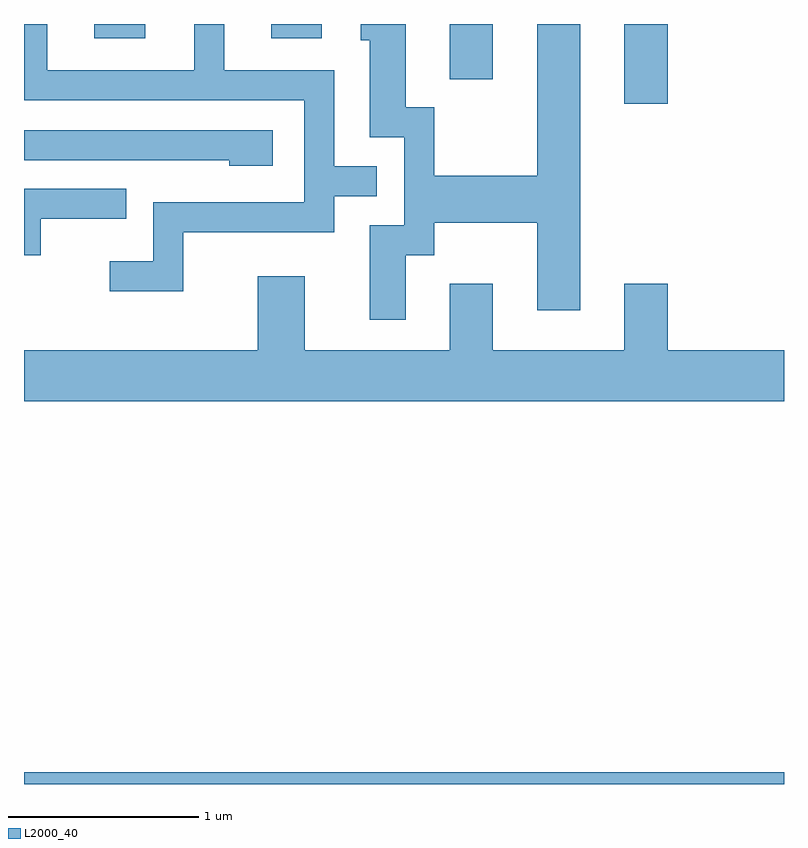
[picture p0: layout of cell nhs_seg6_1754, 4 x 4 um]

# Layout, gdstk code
import gdstk
lib = gdstk.Library(unit=1e-6, precision=1e-09)
def R(c, l, rs):  # rectangles x0, y0, x1, y1
    for r in rs: c.add(gdstk.rectangle(r[:2], r[2:], *l))
def P(c, l, *ps):  # polygons
    for p in ps: c.add(gdstk.Polygon(p, *l))
L2000_40 = (2000, 40)

nhs_seg6_1754 = lib.new_cell('nhs_seg6_1754')
R(nhs_seg6_1754, L2000_40, [(237.611,1630.162,241.611,1630.224), (240.771,1633.741,240.999,1634.162), (239.851,1633.871,240.079,1634.162), (237.981,1634.086,238.249,1634.162), (238.911,1634.086,239.179,1634.162)])
P(nhs_seg6_1754, L2000_40, [(238.449,1633.066),(239.244,1633.066),(239.244,1633.256),(239.468,1633.256),(239.468,1633.414),(239.244,1633.414),(239.244,1633.919),(238.664,1633.919),(238.664,1634.162),(238.506,1634.162),(238.506,1633.919),(237.734,1633.919),(237.734,1634.162),(237.611,1634.162),(237.611,1633.761),(239.086,1633.761),(239.086,1633.224),(238.291,1633.224),(238.291,1632.914),(238.063,1632.914),(238.063,1632.756),(238.449,1632.756)],
  [(239.619,1632.946),(239.769,1632.946),(239.769,1633.116),(240.311,1633.116),(240.311,1632.656),(240.539,1632.656),(240.539,1634.162),(240.311,1634.162),(240.311,1633.364),(239.769,1633.364),(239.769,1633.724),(239.619,1633.724),(239.619,1634.162),(239.383,1634.162),(239.383,1634.076),(239.431,1634.076),(239.431,1633.566),(239.611,1633.566),(239.611,1633.104),(239.431,1633.104),(239.431,1632.606),(239.619,1632.606)],
  [(238.919,1633.604),(237.611,1633.604),(237.611,1633.446),(238.691,1633.446),(238.691,1633.416),(238.919,1633.416)],
  [(237.699,1633.136),(238.148,1633.136),(238.148,1633.294),(237.611,1633.294),(237.611,1632.946),(237.699,1632.946)],
  [(241.611,1632.444),(240.999,1632.444),(240.999,1632.794),(240.771,1632.794),(240.771,1632.444),(240.079,1632.444),(240.079,1632.794),(239.851,1632.794),(239.851,1632.444),(239.089,1632.444),(239.089,1632.834),(238.841,1632.834),(238.841,1632.444),(237.611,1632.444),(237.611,1632.176),(241.611,1632.176)])

lib.write_gds('nhs_seg6_1754.gds')
